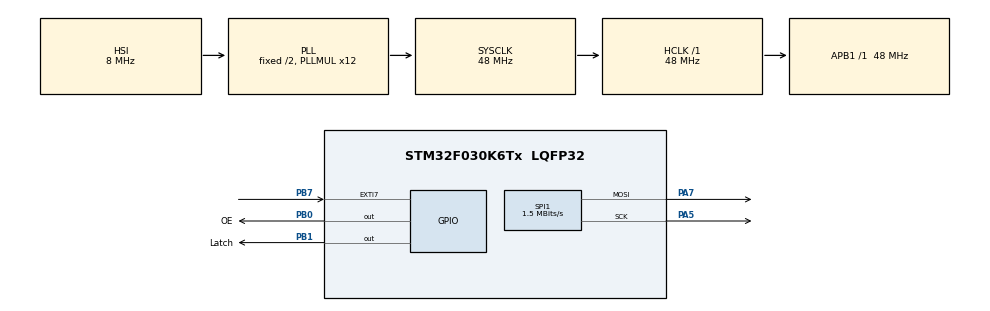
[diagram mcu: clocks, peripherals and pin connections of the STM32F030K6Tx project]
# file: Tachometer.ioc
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Mcu.Family=STM32F0
Mcu.Name=STM32F030K6Tx
Mcu.Package=LQFP32
PA13.Mode=Serial_Wire
PA13.Signal=SYS_SWDIO
PA14.Mode=Serial_Wire
PA14.Signal=SYS_SWCLK
PA5.Mode=TX_Only_Simplex_Unidirect_Master
PA5.Signal=SPI1_SCK
PA6.Signal=SPI1_MISO
PA7.Mode=TX_Only_Simplex_Unidirect_Master
PA7.Signal=SPI1_MOSI
PB0.GPIO_Label=OE
PB0.Signal=GPIO_Output
PB1.GPIO_Label=Latch
PB1.Signal=GPIO_Output
PB7.Signal=GPXTI7
ProjectManager.HeapSize=0x200
ProjectManager.StackSize=0x400
ProjectManager.TargetToolchain=STM32CubeIDE
RCC.AHBFreq_Value=48000000
RCC.APB1Freq_Value=48000000
RCC.APB1TimFreq_Value=48000000
RCC.HCLKFreq_Value=48000000
RCC.PLLMUL=RCC_PLL_MUL12
RCC.SYSCLKFreq_VALUE=48000000
RCC.SYSCLKSource=RCC_SYSCLKSOURCE_PLLCLK
SPI1.BaudRatePrescaler=SPI_BAUDRATEPRESCALER_32
SPI1.CalculateBaudRate=1.5 MBits/s
SPI1.DataSize=SPI_DATASIZE_8BIT
SPI1.Direction=SPI_DIRECTION_2LINES
SPI1.FirstBit=SPI_FIRSTBIT_MSB
SPI1.Mode=SPI_MODE_MASTER
SPI1.VirtualType=VM_MASTER
board=custom

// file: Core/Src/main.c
/* USER CODE BEGIN Header */
/**
  ******************************************************************************
  * @file           : main.c
  * @brief          : Main program body
  ******************************************************************************
  * @attention
  *
  * Copyright (c) 2025 STMicroelectronics.
  * All rights reserved.
  *
  * This software is licensed under terms that can be found in the LICENSE file
  * in the root directory of this software component.
  * If no LICENSE file comes with this software, it is provided AS-IS.
  *
  ******************************************************************************
  */
/* USER CODE END Header */
#include "main.h"

SPI_HandleTypeDef hspi1;

/* USER CODE BEGIN PV */
// Глобальные переменные
volatile uint16_t pulse_count = 0;
volatile uint8_t digits[4] = {0};
const uint8_t period_number = 3;
volatile uint32_t current_time = 0;
volatile uint32_t previous_time = 0;
volatile double filtered_rpm = 0.0;      // Отфильтрованное значение RPM
const float alpha = 0.2;                 // Коэффициент фильтрации (0.1-0.3)
const uint16_t timeout_ms = 2000;
volatile uint32_t last_pulse_time = 0;

//исправленные паттерны цифр для этой платы (общий катод)
const uint8_t digit_pattern[10] = {
    0x7B, // 0 - 01111011
    0x0A, // 1 - 00001010
    0xB3, // 2 - 10110011
    0x9B, // 3 - 10011011
    0xCA, // 4 - 11001010
    0xD9, // 5 - 11011001
    0xF9, // 6 - 11111001
    0x0B, // 7 - 00001011
    0xFB, // 8 - 11111011
    0xDB  // 9 - 11011011
};
/* USER CODE END PV */

void SystemClock_Config(void);
static void MX_GPIO_Init(void);
static void MX_SPI1_Init(void);
/* USER CODE BEGIN PFP */
void Update_Display(void);
void EXTI4_15_IRQHandler(void);
void Frequency_calculation(void);
void Test_Segments(void);
/* USER CODE END PFP */

int main(void)
{

  /* MCU Configuration--------------------------------------------------------*/

  /* Reset of all peripherals, Initializes the Flash interface and the Systick. */
  HAL_Init();

  /* Configure the system clock */
  SystemClock_Config();

  /* Initialize all configured peripherals */
  MX_GPIO_Init();
  MX_SPI1_Init();
  /* USER CODE BEGIN 2 */

  HAL_NVIC_SetPriority(EXTI4_15_IRQn, 0, 0);
  HAL_NVIC_EnableIRQ(EXTI4_15_IRQn);

  Test_Segments();

  // Инициализация дисплея (все нули)
  digits[0] = 0;
  digits[1] = 0;
  digits[2] = 0;
  digits[3] = 0;
  Update_Display();
  HAL_Delay(1000);
  /* USER CODE END 2 */

  /* Infinite loop */
  /* USER CODE BEGIN WHILE */
  while (1)
  {
	  if (pulse_count >= period_number) {
		  Frequency_calculation();
		  Update_Display();
	  }
	  else if (last_pulse_time > 0 && (HAL_GetTick() - last_pulse_time) > timeout_ms) {
	          filtered_rpm = 0.0;
	          digits[0] = 0;
	          digits[1] = 0;
	          digits[2] = 0;
	          digits[3] = 0;
	          Update_Display();
	          last_pulse_time = 0;  // Сброс флага таймаута
	  }
    /* USER CODE END WHILE */

  }
}

void SystemClock_Config(void)
{
  RCC_OscInitTypeDef RCC_OscInitStruct = {0};
  RCC_ClkInitTypeDef RCC_ClkInitStruct = {0};

  /** Initializes the RCC Oscillators according to the specified parameters
  * in the RCC_OscInitTypeDef structure.
  */
  RCC_OscInitStruct.OscillatorType = RCC_OSCILLATORTYPE_HSI;
  RCC_OscInitStruct.HSIState = RCC_HSI_ON;
  RCC_OscInitStruct.HSICalibrationValue = RCC_HSICALIBRATION_DEFAULT;
  RCC_OscInitStruct.PLL.PLLState = RCC_PLL_ON;
  RCC_OscInitStruct.PLL.PLLSource = RCC_PLLSOURCE_HSI;
  RCC_OscInitStruct.PLL.PLLMUL = RCC_PLL_MUL12;
  RCC_OscInitStruct.PLL.PREDIV = RCC_PREDIV_DIV1;
  if (HAL_RCC_OscConfig(&RCC_OscInitStruct) != HAL_OK)
  {
    Error_Handler();
  }

  /** Initializes the CPU, AHB and APB buses clocks
  */
  RCC_ClkInitStruct.ClockType = RCC_CLOCKTYPE_HCLK|RCC_CLOCKTYPE_SYSCLK
                              |RCC_CLOCKTYPE_PCLK1;
  RCC_ClkInitStruct.SYSCLKSource = RCC_SYSCLKSOURCE_PLLCLK;
  RCC_ClkInitStruct.AHBCLKDivider = RCC_SYSCLK_DIV1;
  RCC_ClkInitStruct.APB1CLKDivider = RCC_HCLK_DIV1;

  if (HAL_RCC_ClockConfig(&RCC_ClkInitStruct, FLASH_LATENCY_1) != HAL_OK)
  {
    Error_Handler();
  }
}

static void MX_SPI1_Init(void)
{

  /* SPI1 parameter configuration*/
  hspi1.Instance = SPI1;
  hspi1.Init.Mode = SPI_MODE_MASTER;
  hspi1.Init.Direction = SPI_DIRECTION_2LINES;
  hspi1.Init.DataSize = SPI_DATASIZE_8BIT;
  hspi1.Init.CLKPolarity = SPI_POLARITY_LOW;
  hspi1.Init.CLKPhase = SPI_PHASE_1EDGE;
  hspi1.Init.NSS = SPI_NSS_SOFT;
  hspi1.Init.BaudRatePrescaler = SPI_BAUDRATEPRESCALER_32;
  hspi1.Init.FirstBit = SPI_FIRSTBIT_MSB;
  hspi1.Init.TIMode = SPI_TIMODE_DISABLE;
  hspi1.Init.CRCCalculation = SPI_CRCCALCULATION_DISABLE;
  hspi1.Init.CRCPolynomial = 7;
  hspi1.Init.CRCLength = SPI_CRC_LENGTH_DATASIZE;
  hspi1.Init.NSSPMode = SPI_NSS_PULSE_ENABLE;
  if (HAL_SPI_Init(&hspi1) != HAL_OK)
  {
    Error_Handler();
  }

}

static void MX_GPIO_Init(void)
{
  GPIO_InitTypeDef GPIO_InitStruct = {0};

  /* GPIO Ports Clock Enable */
  __HAL_RCC_GPIOA_CLK_ENABLE();
  __HAL_RCC_GPIOB_CLK_ENABLE();

  /*Configure GPIO pin Output Level */
  HAL_GPIO_WritePin(GPIOB, OE_Pin|Latch_Pin, GPIO_PIN_RESET);

  /*Configure GPIO pins : OE_Pin Latch_Pin */
  GPIO_InitStruct.Pin = OE_Pin|Latch_Pin;
  GPIO_InitStruct.Mode = GPIO_MODE_OUTPUT_PP;
  GPIO_InitStruct.Pull = GPIO_NOPULL;
  GPIO_InitStruct.Speed = GPIO_SPEED_FREQ_LOW;
  HAL_GPIO_Init(GPIOB, &GPIO_InitStruct);

  /*Configure GPIO pin : PB7 */
  GPIO_InitStruct.Pin = GPIO_PIN_7;
  GPIO_InitStruct.Mode = GPIO_MODE_IT_RISING;
  GPIO_InitStruct.Pull = GPIO_NOPULL;
  HAL_GPIO_Init(GPIOB, &GPIO_InitStruct);

  /* USER CODE BEGIN MX_GPIO_Init_2 */
  HAL_GPIO_WritePin(GPIOB, GPIO_PIN_1, GPIO_PIN_SET);
  HAL_GPIO_WritePin(GPIOB, GPIO_PIN_0, GPIO_PIN_RESET);
  /* USER CODE END MX_GPIO_Init_2 */
}

/* USER CODE BEGIN 4 */

// Обновление индикаторов
void Update_Display(void) {
    uint8_t data[4];
    // Порядок передачи: LED1, LED2, LED3, LED4 (единицы → тысячи)
    data[0] = digit_pattern[digits[3]]; // Единицы (LED4)
    data[1] = digit_pattern[digits[2]]; // Десятки (LED3)
    data[2] = digit_pattern[digits[1]]; // Сотни (LED2)
    data[3] = digit_pattern[digits[0]]; // Тысячи (LED1)

    HAL_GPIO_WritePin(GPIOB, GPIO_PIN_1, GPIO_PIN_RESET); // LATCH = 0
    HAL_SPI_Transmit(&hspi1, data, 4, 100);               // Передача данных
    HAL_GPIO_WritePin(GPIOB, GPIO_PIN_1, GPIO_PIN_SET);   // LATCH = 1
}

// Обработчик прерывания для PB7
void EXTI4_15_IRQHandler(void) {
    if(__HAL_GPIO_EXTI_GET_IT(GPIO_PIN_7) != RESET) {
        pulse_count++;
        last_pulse_time = HAL_GetTick();
        __HAL_GPIO_EXTI_CLEAR_IT(GPIO_PIN_7);
    }
}

// Тест сегментов
void Test_Segments(void) {
    uint8_t test_data[4] = {0};

    // Все сегменты выключены
    HAL_GPIO_WritePin(GPIOB, GPIO_PIN_1, GPIO_PIN_RESET);
    HAL_SPI_Transmit(&hspi1, test_data, 4, 100);
    HAL_GPIO_WritePin(GPIOB, GPIO_PIN_1, GPIO_PIN_SET);
    HAL_Delay(1000);

    // Поочередное включение сегментов
    for(uint8_t seg = 0; seg < 8; seg++) {
        for(uint8_t i = 0; i < 4; i++) {
            test_data[i] = (1 << seg);
        }

        HAL_GPIO_WritePin(GPIOB, GPIO_PIN_1, GPIO_PIN_RESET);
        HAL_SPI_Transmit(&hspi1, test_data, 4, 100);
        HAL_GPIO_WritePin(GPIOB, GPIO_PIN_1, GPIO_PIN_SET);

        HAL_Delay(500);
    }
}

//Функция расчета частоты
void Frequency_calculation(void) {
    previous_time = current_time;
    current_time = HAL_GetTick();

    // Расчет мгновенного значения RPM
    double frequency_rpm = 60000.0 / ((current_time - previous_time) / pulse_count);
    pulse_count = 0;

    // Применение EMA-фильтра
    if (filtered_rpm == 0.0) {
        filtered_rpm = frequency_rpm;  // Инициализация при первом измерении
    } else {
        filtered_rpm = alpha * frequency_rpm + (1 - alpha) * filtered_rpm;
    }

    // Ограничение значения (0-9999)
    uint16_t display_rpm = (filtered_rpm > 9999) ? 9999 : (uint16_t)filtered_rpm;

    // Преобразование в цифры
    digits[0] = display_rpm / 1000;          // Тысячи
    digits[1] = (display_rpm % 1000) / 100;  // Сотни
    digits[2] = (display_rpm % 100) / 10;    // Десятки
    digits[3] = display_rpm % 10;            // Единицы
}

/* USER CODE END 4 */

void Error_Handler(void)
{
  __disable_irq();
  while (1)
  {
  }
}
